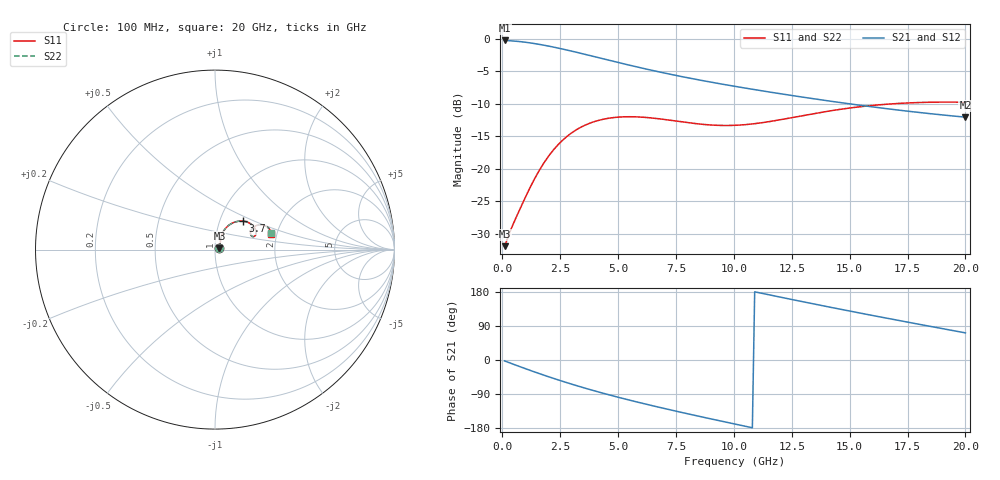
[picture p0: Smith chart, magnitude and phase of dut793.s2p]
! Touchstone file exported from HFSS 2024.1.0
!  File:  C:/UserFiles/LocalFiles/RDL_TSV_Batchsim/temp_RDL_TSV_793_1779908524.aedt
!  Generated:  03:18:26 AM May 28, 2026
!  Design:  RDL_TSV
!  Project:  temp_RDL_TSV_793_1779908524
!  Setup:  Setup1
!  Solution:  Sweep
! Variables:
!  dtsv = 11.19um
!  hbump = 3um
!  htsv = 60.59um
!  ldown = 650.41um
!  lrdl = 658.99um
!  p = 40
!  p1 = 45.1um
!  rhole = 10um
!  subl = 4587.19um
!  t = 450um
!  tdown = 4.35um
!  trdl = 2.98um
!  viad = 10um
!  wdown = 13.97um
!  wrdl = 24.11um
!  xbump = 18um
# GHz S MA R 50.000000
! Terminal data exported
! Port[1] = TM1_1_T1
! Port[2] = TM1_4_T1
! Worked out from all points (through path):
!   200 points, 100 MHz to 20 GHz, reference 50 ohm
!   highest |S21| = -0.22 dB at 100 MHz (marker M1); lowest = -12.0 dB at 20 GHz (marker M2)
!   group delay of S21, straight-line fit = 38.2 ps
!   lowest |S11| = -31.9 dB at 100 MHz (marker M3), VSWR 1.05, Z = 52.5 + j0.656 ohm
!   |S11| at or under -10 dB: start of sweep to 16.76 GHz
!   |S22| runs from -31.9 to -9.7 dB; largest |S21 - S12| = 3.6e-14
!   S11 on the Smith chart (normalised r, x): 100 MHz: 1.05, +0.01; 3.7 GHz: 1.29, +0.43; 20 GHz: 1.86, +0.37
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0.1  0.02539 14.2  0.9751 -2.4  0.9751 -2.4  0.02539 14.2
! Gamma 0 0 0 0
! Port Impedance 50 0 50 0
0.4  0.03515 38.3  0.9682 -9.4  0.9682 -9.4  0.03515 38.3
0.9  0.05547 57.4  0.9494 -20.7  0.9494 -20.7  0.05546 57.4
1.4  0.08426 64.9  0.9224 -31.7  0.9224 -31.7  0.08426 64.9
1.8  0.1114 65.2  0.8964 -40.1  0.8964 -40.1  0.1114 65.3
2.2  0.1393 62.7  0.8678 -48.3  0.8678 -48.3  0.1394 62.8
2.6  0.1659 58.7  0.8377 -56.2  0.8377 -56.2  0.166 58.8
3.5  0.214 48.0  0.7681 -73.0  0.7681 -73.0  0.2141 48.0
3.7  0.222 45.6  0.7529 -76.5  0.7529 -76.5  0.222 45.6
4.5  0.2439 36.6  0.6942 -90.1  0.6942 -90.1  0.2439 36.6
5.2  0.2515 30.0  0.6472 -101.4  0.6472 -101.4  0.2516 30.0
6  0.2504 24.2  0.5991 -113.5  0.5991 -113.5  0.2505 24.2
6.8  0.2427 20.4  0.5569 -125.2  0.5569 -125.2  0.2428 20.4
7.6  0.2323 18.7  0.5201 -136.4  0.5201 -136.4  0.2323 18.7
8.4  0.2227 18.9  0.4878 -147.3  0.4878 -147.3  0.2227 19.0
10.1  0.2167 24.0  0.4305 -169.8  0.4305 -169.8  0.2167 24.1
11.8  0.2356 29.2  0.3842 168.5  0.3842 168.5  0.2355 29.2
13.4  0.2654 30.1  0.3477 148.5  0.3477 148.5  0.2654 30.2
15  0.2942 27.9  0.3168 129.2  0.3168 129.2  0.2941 28.0
16.7  0.3157 23.9  0.2894 109.2  0.2894 109.2  0.3156 24.0
18.3  0.3255 19.7  0.2683 90.8  0.2683 90.8  0.3253 19.9
20  0.326 15.9  0.2503 71.6  0.2503 71.6  0.3258 16.0
